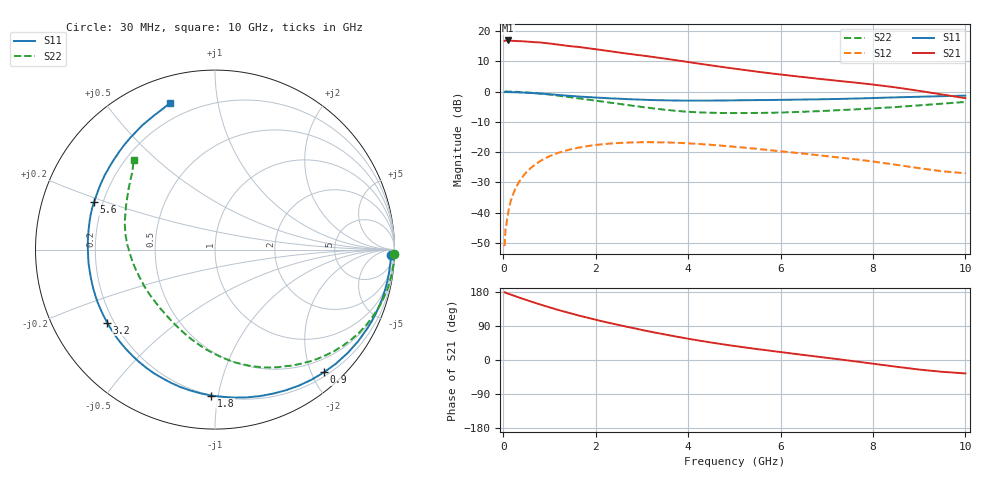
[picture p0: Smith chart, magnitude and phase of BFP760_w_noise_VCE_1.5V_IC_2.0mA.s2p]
! Infineon Technologies  Discrete & RF Semiconductors
! BFP760
! VCE =  1.5 V,  IC =  2.0 mA
! Common Emitter S-Parameters:  Nov 2012
# GHz  S  MA  R  50
!  f  S11  S21  S12  S22
! GHz  MAG  ANG  MAG  ANG  MAG  ANG  MAG  ANG
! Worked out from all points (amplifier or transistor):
!   99 points, 30 MHz to 10 GHz, reference 50 ohm
!   highest |S21| = 16.9 dB at 110 MHz (marker M1)
!   |S21| within 3 dB of that: start of sweep to 2.049 GHz
!   unconditionally stable (mu >= 1): 7.188 GHz to end of sweep
!   at 350 MHz: K = 0.05, MSG = 23.2 dB, |S12| = -29.7 dB
!   at 3.5 GHz: K = 0.32, MSG = 13.8 dB, |S12| = -16.8 dB
!   at 10 GHz: K = 1.76, MAG = 7.3 dB, |S12| = -27.0 dB
!   lowest NFmin = 0.46 dB at 900 MHz
!   S11 on the Smith chart (normalised r, x): 30 MHz: 28, -46; 900 MHz: 0.26, -2.20; 1.8 GHz: 0.20, -0.96; 3.2 GHz: 0.17, -0.30; 5.6 GHz: 0.17, +0.18; 10 GHz: 0.12, +0.73
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0.03  0.981 -1.8  6.881 178.7  0.0028 96.3  1 -1.3
0.05  0.9806 -2.8  6.945 177.4  0.0055 95.9  0.9992 -2.0
0.11  0.9787 -6.1  6.976 174.9  0.0105 86.1  0.9979 -4.3
0.25  0.9733 -13.7  6.859 168.9  0.0236 81.0  0.991 -9.6
0.5  0.9559 -27.2  6.695 158.4  0.0464 71.5  0.9686 -19.1
0.8  0.9262 -43.3  6.464 146.5  0.0711 60.6  0.9265 -30.0
0.9  0.9147 -48.3  6.336 142.8  0.0786 57.1  0.9089 -33.6
1.2  0.8774 -63.3  5.945 131.7  0.0979 47.1  0.8529 -43.7
1.6  0.8319 -82.4  5.491 118.5  0.1172 35.6  0.7776 -56.1
1.7  0.8212 -87.0  5.363 115.3  0.1211 32.9  0.7585 -59.0
1.8  0.8137 -91.4  5.24 112.4  0.1248 30.2  0.7421 -62.1
2.1  0.7891 -104.4  4.877 103.3  0.1337 22.5  0.6901 -70.9
2.5  0.7619 -120.2  4.421 92.4  0.1414 13.2  0.628 -81.8
2.8  0.744 -131.6  4.123 84.6  0.1445 6.9  0.5829 -89.8
3.2  0.7251 -145.9  3.759 74.5  0.1458 -1.2  0.5327 -100.6
3.4  0.7189 -152.6  3.578 69.7  0.1452 -5.0  0.5109 -106.1
4.1  0.7086 -173.2  2.998 54.1  0.1383 -16.8  0.4589 -124.6
5.1  0.7175 166.0  2.336 35.4  0.1208 -29.7  0.4417 -146.1
5.6  0.7238 158.6  2.08 27.2  0.111 -34.6  0.4436 -155.2
6.7  0.7424 145.0  1.665 10.4  0.0909 -41.8  0.4704 -175.0
8.5  0.8022 120.4  1.169 -17.7  0.0619 -46.6  0.5548 153.2
10  0.8563 106.9  0.777 -35.4  0.0448 -33.4  0.6735 132.2
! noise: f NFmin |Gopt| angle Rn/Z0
0.9  0.46  0.62  27  0.22
1.8  0.6  0.52  57  0.18
2.4  0.73  0.48  77  0.16
3.5  0.93  0.42  109  0.14
5.5  1.34  0.44  -164  0.08
8  2.21  0.57  -108  0.43
